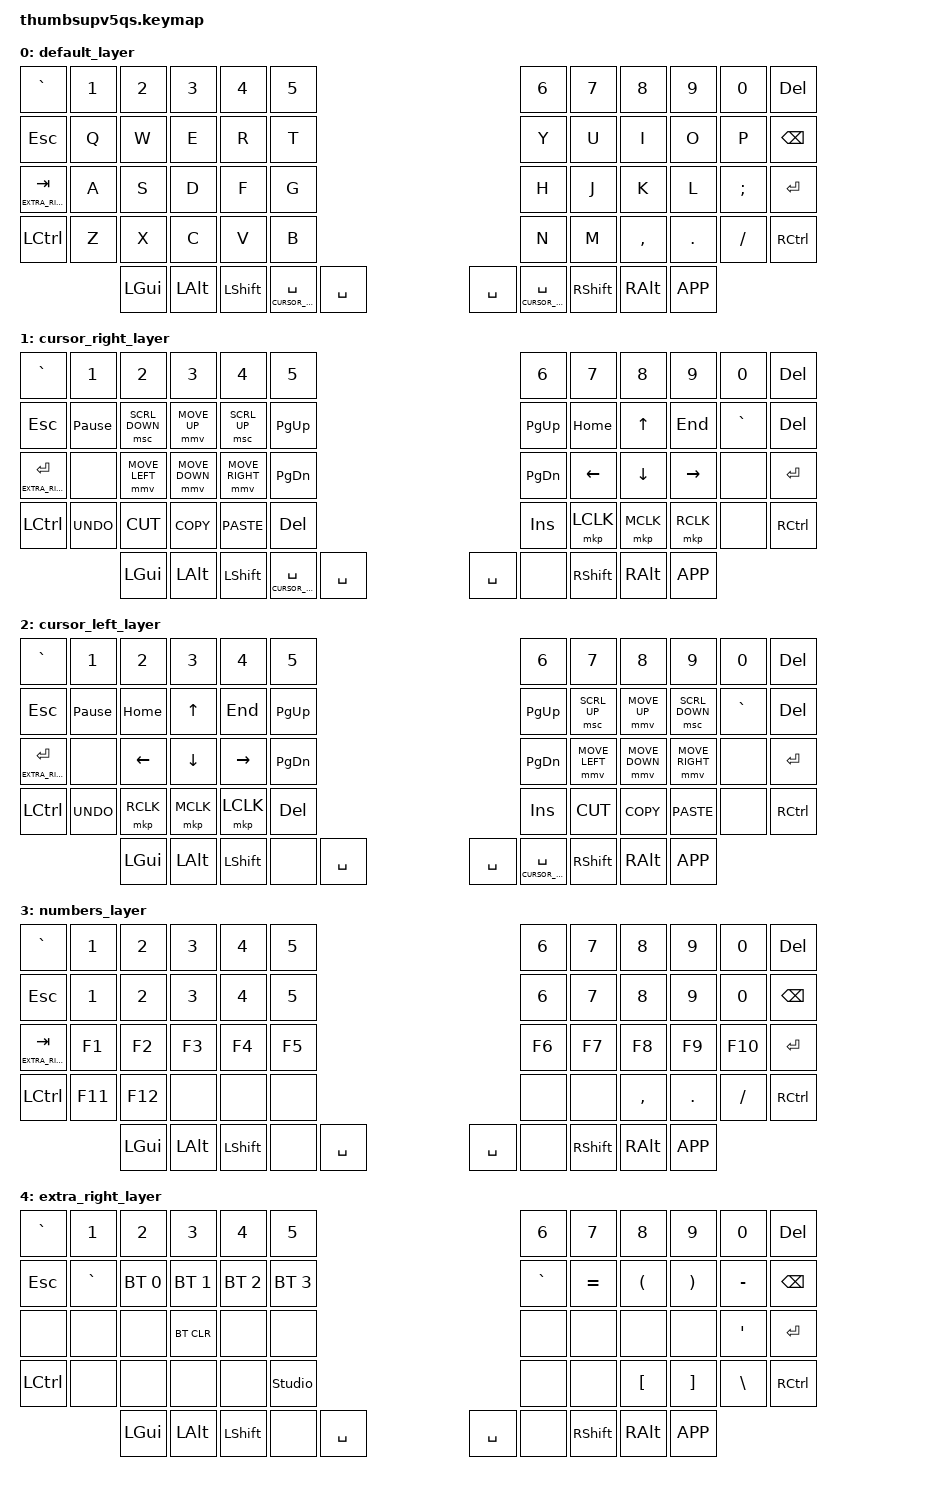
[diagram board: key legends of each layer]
#include <behaviors.dtsi>
#include <dt-bindings/zmk/keys.h>
#include <dt-bindings/zmk/bt.h>
//#include <dt-bindings/zmk/mouse.h>

#include <dt-bindings/zmk/outputs.h>
#include <dt-bindings/zmk/mouse.h>
#include <dt-bindings/zmk/ext_power.h>
#include <behaviors/mouse_keys.dtsi>
//#include <input/processors.dtsi>


#define DEFAULT 0
#define CURSOR_RIGHT 1
#define CURSOR_LEFT 2
#define NUMBERS_FKEYS 3
#define EXTRA_RIGHT 4

// Mouse speed increased
//#define ZMK_POINTING_DEFAULT_MOVE_VAL 1200  // default: 600
//#define ZMK_POINTING_DEFAULT_SCRL_VAL 17    // default: 10
//#include <dt-bindings/zmk/pointing.h>

/ {
    keymap {
        compatible = "zmk,keymap";

        default_layer {
// | GRAVE| 1 | 2 | 3 | 4 | 5 |       | 6 | 7 | 8 | 9 | 0 | DEL   |
// | ESC  | Q | W | E | R | T |       | Y | U | I | O | P | BKSPC |
// | TAB  | A | S | D | F | G |       | H | J | K | L | ; | ENTER |
// | LCTR | Z | X | C | V | B |       | N | M | , | . | / | RCTR  | 
//            |WIN|ALT|RSE|SFT|SPC|SPC|SFT|LOW|ALT|MNU|

            bindings = <
    &kp GRAVE              &kp N1   &kp N2   &kp N3    &kp N4     &kp N5                                        &kp N6           &kp N7           &kp N8    &kp N9    &kp N0   &kp DEL
    &kp ESC                &kp Q    &kp W    &kp E     &kp R      &kp T                                         &kp Y            &kp U            &kp I     &kp O     &kp P    &kp BSPC
    &lt EXTRA_RIGHT TAB    &kp A    &kp S    &kp D     &kp F      &kp G                                         &kp H            &kp J            &kp K     &kp L     &kp SEMI &kp RET
    &kp LCTRL              &kp Z    &kp X    &kp C     &kp V      &kp B                                         &kp N            &kp M            &kp COMMA &kp DOT   &kp FSLH &kp RCTRL
                                    &kp LGUI &kp LALT  &kp LSHIFT &lt CURSOR_LEFT SPACE &kp SPACE &kp SPACE  &lt CURSOR_RIGHT SPACE &kp RSHIFT    &kp RALT  &kp K_APP
            >;
        };

        cursor_right_layer {

// Cursor Control on the right (Right Space)
// ,------------------------------------------------------------------------------------.
// |      |   1  |   2  |   3  |   4  |   5  ||   6  |   7  |   8  |   9  |   0  | Del  |
// |------------------------------------------------------------------------------------|
// | Esc  |Break |WheelD|MousUp|WheelU| PgUp || PgUp | Home |  Up  | End  |   `  | Del  |
// |------+------+------+------+------+-------+------+------+------+------+------+------|
// |      |SelAll|MousLt|MousDn|MousRt| PgDn || PgDn | Left | Down |Right | ...  |      |
// |------+------+------+------+------+------|+------+------+------+------+------+------|
// |      | Undo | Cut  | Copy | Paste| Del  ||  Ins |MsBtLe|MsBtMi|MsBtRt| ...  |      |
// `------+------+------+------+------+------++------+------+------+------+------+------.
//               |      |      |      |      ||   X  |      |      |      |
//               +------+------+------+------++------+------+------+------+

            bindings = <
    &kp GRAVE           &kp N1          &kp N2           &kp N3         &kp N4          &kp N5                       &kp N6        &kp N7    &kp N8    &kp N9     &kp N0     &kp DEL
    &kp ESC             &kp PAUSE_BREAK &msc SCRL_DOWN   &mmv MOVE_UP   &msc SCRL_UP    &kp PG_UP                    &kp PG_UP     &kp HOME  &kp UP    &kp END    &kp GRAVE  &kp DEL
    &lt EXTRA_RIGHT RET &none           &mmv MOVE_LEFT   &mmv MOVE_DOWN &mmv MOVE_RIGHT &kp PG_DN                    &kp PG_DN     &kp LEFT  &kp DOWN  &kp RIGHT  &none      &kp RET
    &kp LCTRL           &kp K_UNDO      &kp K_CUT        &kp K_COPY     &kp K_PASTE     &kp DELETE                   &kp INSERT    &mkp LCLK &mkp MCLK &mkp RCLK  &none      &kp RCTRL
                                        &kp LGUI         &kp LALT       &kp LSHIFT      &lt CURSOR_LEFT SPACE  &kp SPACE &kp SPACE &none               &kp RSHIFT &kp RALT   &kp K_APP
           >;
        };

        cursor_left_layer {
// Cursor Control on the left (Left Space)
// ,------------------------------------------------------------------------------------.
// |  `   |   1  |   2  |   3  |   4  |   5  ||   6  |   7  |   8  |   9  |   0  | Del  |
// |------------------------------------------------------------------------------------|
// |  Esc |Break | Home |  Up  | End  | PgUp || PgUp |WheelU|MousUp|WheelD|   `  | Del  |
// |------+------+------+------+------+------++-------------+------+------+------+------|
// | Enter|SelAll|Right | Down | Left | PgDn || PgDn |MousLt|MousDn|MousRt| xxx  |Enter |
// |------+------+------+------+------+------++------|------+------+------+------+------|
// |      | xxx  |MsBtRt|MsBtMi|MsBtLe| Del  || Ins  | Cut  | Copy | Paste| xxx  |      |
// `------+------+------+------+------+------++------+------+------+------+------+------.
//               |      |      |      |   X  ||      |      |      |      |
//               +------+------+------+------++------+------+------+------+

            bindings = <
    &kp GRAVE           &kp N1          &kp N2     &kp N3     &kp N4     &kp N5                         &kp N6                 &kp N7         &kp N8         &kp N9           &kp N0    &kp DEL
    &kp ESC             &kp PAUSE_BREAK &kp HOME   &kp UP     &kp END    &kp PG_UP                      &kp PG_UP              &msc SCRL_UP   &mmv MOVE_UP   &msc SCRL_DOWN   &kp GRAVE &kp DEL
    &lt EXTRA_RIGHT RET &none           &kp LEFT   &kp DOWN   &kp RIGHT  &kp PG_DN                      &kp PG_DN              &mmv MOVE_LEFT &mmv MOVE_DOWN &mmv MOVE_RIGHT  &none     &kp RET
    &kp LCTRL           &kp K_UNDO      &mkp RCLK  &mkp MCLK  &mkp LCLK  &kp DELETE                     &kp INSERT             &kp K_CUT      &kp K_COPY     &kp K_PASTE      &none     &kp RCTRL
                                        &kp LGUI   &kp LALT   &kp LSHIFT &none      &kp SPACE &kp SPACE &lt CURSOR_RIGHT SPACE &kp RSHIFT     &kp RALT       &kp K_APP
            >;
        };

        numbers_layer {
// Numbers on the home row, FNs on the top row, symbols in the second row
// (Lower or Raise)
// ,------------------------------------------------------------------------------------.
// |  `   |   1  |   2  |   3  |   4  |   5  ||   6  |   7  |   8  |   9  |   0  | Del  |
// |------------------------------------------------------------------------------------|
// | Esc  |   1  |   2  |   3  |   4  |   5  ||   6  |   7  |   8  |   9  |   0  |BackSp|
// |------+------+------+------+------+------||------+------+------+------+------+------|
// |      |   F1 |   F2 |   F3 |   F4 |   F5 ||   F6 |   F7 |   F8 |   F9 |   F10| Enter|
// |------+------+------+------+------+--------------+------+------+------+------+------|
// |      |  F11 |  F12 | LAlt |  xxx | xxx  || xxx  |  xxx |   ,  |   .  |   /  |      |
// `------+------+------+------+------+------++------+------+------+------+------+------.
//               |      |      |      |      ||      |      |      |      |
//               +------+------+------+------++------+------+------+------+

            bindings = <
    &kp GRAVE           &kp N1   &kp N2     &kp N3   &kp N4     &kp N5                       &kp N6 &kp N7     &kp N8     &kp N9    &kp N0    &kp DEL
    &kp ESC             &kp N1   &kp N2     &kp N3   &kp N4     &kp N5                       &kp N6 &kp N7     &kp N8     &kp N9    &kp N0    &kp BSPC
    &lt EXTRA_RIGHT TAB &kp F1	 &kp F2     &kp F3   &kp F4     &kp F5                       &kp F6 &kp F7     &kp F8     &kp F9    &kp F10   &kp RET
    &kp LCTRL           &kp F11  &kp F12    &none    &none      &none                        &none  &none      &kp COMMA  &kp DOT   &kp FSLH  &kp RCTRL
                                 &kp LGUI   &kp LALT &kp LSHIFT &none  	&kp SPACE &kp SPACE  &none  &kp RSHIFT &kp RALT   &kp K_APP
            >;
        };

        extra_right_layer {
// ExtraRightSide (the keys from the right side which did not fit into the matrix)
// ,-----------------------------------------------------------------------------------.
// | Esc  |   `  |Prof.0|Prof.1|Prof.2|Prof.3|   `  |   =  |   (  |   )  |   -  |      |
// |------+------+------+------+------+-------------+------+------+------+------+------|
// |******|      |      |      |      |      |      |      |      |      |  '   |      |
// This is the           Clear
// key turning           Current
// this layer on         Profile
// |------+------+------+------+------+------|------+------+------+------+------+------|
// |      |      |      |      |      |Studio|      |      |   [  |   ]  |  \   |      |
// |      |      |      |      |      |Unlock|      |      |      |      |      |      |
// `------+------+------+------+------+------+------+------+------+------+------+------.
//               |      |      |      |      |      |      |      |      |
//               +------+------+------+------+------+------+------+------+

            bindings = <
    &kp GRAVE &kp N1    &kp N2       &kp N3       &kp N4       &kp N5                        &kp N6    &kp N7     &kp N8   &kp N9   &kp N0    &kp DEL
    &kp ESC   &kp GRAVE &bt BT_SEL 0 &bt BT_SEL 1 &bt BT_SEL 2 &bt BT_SEL 3                  &kp GRAVE &kp EQUAL  &kp LPAR &kp RPAR &kp MINUS &kp BSPC
    &none     &none     &none        &bt BT_CLR   &none        &none                         &none     &none      &none    &none    &kp SQT   &kp RET
    &kp LCTRL &none     &none        &none        &none        &studio_unlock                &none     &none      &kp LBKT &kp RBKT &kp BSLH  &kp RCTRL
                        &kp LGUI     &kp LALT     &kp LSHIFT   &none  	 &kp SPACE &kp SPACE &none     &kp RSHIFT &kp RALT &kp K_APP
            >;
        };

        extra1 {
            status = "reserved";
        };
        extra2 {
            status = "reserved";
        };
        extra3 {
            status = "reserved";
        };
        extra4 {
            status = "reserved";
        };
        extra5 {
            status = "reserved";
        };
        extra6 {
            status = "reserved";
        };
        extra7 {
            status = "reserved";
        };
        extra8 {
            status = "reserved";
        };
        extra9 {
            status = "reserved";
        };
        extra10 {
            status = "reserved";
        };


    };

    conditional_layers {
        compatible = "zmk,conditional-layers";
        tri_layer {
            if-layers = <CURSOR_RIGHT CURSOR_LEFT>;
            then-layer = <NUMBERS_FKEYS>;
        };
    };
};
